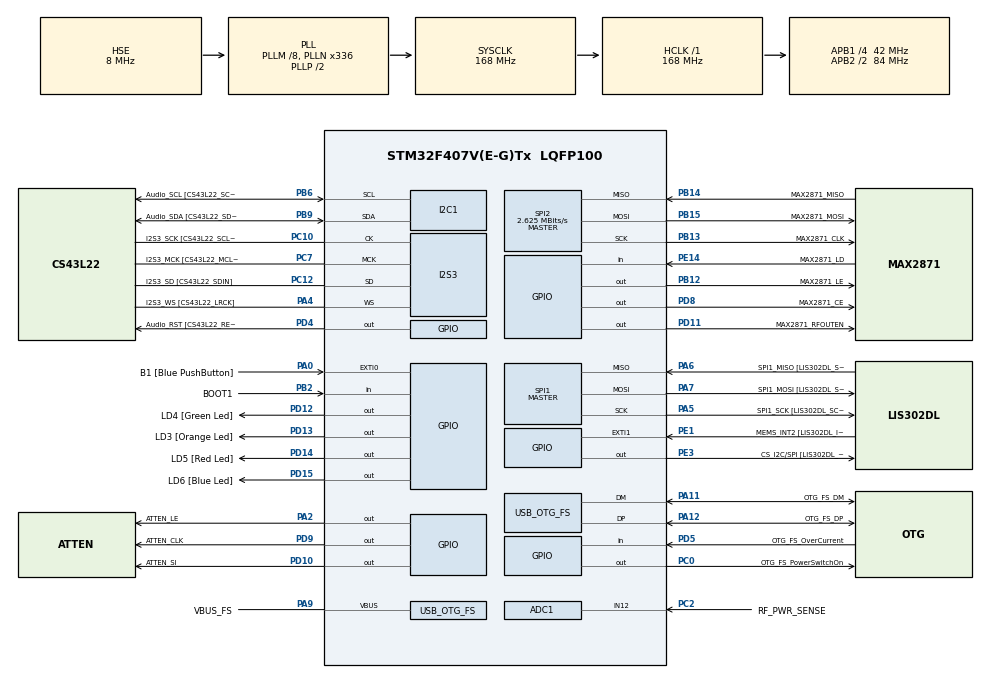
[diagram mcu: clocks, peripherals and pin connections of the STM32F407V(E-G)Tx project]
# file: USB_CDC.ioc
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ADC1.Channel-12\#ChannelRegularConversion=ADC_CHANNEL_12
ADC1.ContinuousConvMode=ENABLE
ADC1.DMAContinuousRequests=ENABLE
ADC1.EOCSelection=ADC_EOC_SEQ_CONV
ADC1.NbrOfConversionFlag=1
ADC1.Rank-12\#ChannelRegularConversion=1
ADC1.SamplingTime-12\#ChannelRegularConversion=ADC_SAMPLETIME_3CYCLES
ADC1.ScanConvMode=ENABLE
ADC1.master=1
I2S3.AudioFreq-Half_Duplex_Master=I2S_AUDIOFREQ_96K
I2S3.ErrorAudioFreq=-2.34 %
I2S3.ErrorAudioFreq-Half_Duplex_Master=0.8 %
I2S3.FullDuplexMode=I2S_FULLDUPLEXMODE_DISABLE
I2S3.Instance=SPI$Index
I2S3.RealAudioFreq=93.75 KHz
I2S3.RealAudioFreq-Half_Duplex_Master=96.774 KHz
I2S3.VirtualMode=I2S_MODE_MASTER
Mcu.Family=STM32F4
Mcu.Name=STM32F407V(E-G)Tx
Mcu.Package=LQFP100
NVIC.OTG_FS_IRQn=true\:0\:0\:false\:false\:true\:true
NVIC.PriorityGroup=NVIC_PRIORITYGROUP_0
PA0-WKUP.GPIO_Label=B1 [Blue PushButton]
PA0-WKUP.GPIO_ModeDefaultEXTI=GPIO_MODE_EVT_RISING
PA0-WKUP.GPIO_PuPd=GPIO_NOPULL
PA0-WKUP.Signal=GPXTI0
PA10.GPIO_Label=OTG_FS_ID
PA10.GPIO_Mode=GPIO_MODE_AF_PP
PA10.GPIO_PuPd=GPIO_NOPULL
PA10.GPIO_Speed=GPIO_SPEED_FREQ_LOW
PA10.Signal=USB_OTG_FS_ID
PA11.GPIO_Label=OTG_FS_DM
PA11.GPIO_Mode=GPIO_MODE_AF_PP
PA11.GPIO_PuPd=GPIO_NOPULL
PA11.GPIO_Speed=GPIO_SPEED_FREQ_LOW
PA11.Mode=Device_Only
PA11.Signal=USB_OTG_FS_DM
PA12.GPIO_Label=OTG_FS_DP
PA12.GPIO_Mode=GPIO_MODE_AF_PP
PA12.GPIO_PuPd=GPIO_NOPULL
PA12.GPIO_Speed=GPIO_SPEED_FREQ_LOW
PA12.Mode=Device_Only
PA12.Signal=USB_OTG_FS_DP
PA13.GPIO_Label=SWDIO
PA13.Mode=Serial_Wire
PA13.Signal=SYS_JTMS-SWDIO
PA14.GPIO_Label=SWCLK
PA14.Mode=Serial_Wire
PA14.Signal=SYS_JTCK-SWCLK
PA2.GPIO_Label=ATTEN_LE
PA2.Signal=GPIO_Output
PA4.GPIO_Label=I2S3_WS [CS43L22_LRCK]
PA4.GPIO_Mode=GPIO_MODE_AF_PP
PA4.GPIO_PuPd=GPIO_NOPULL
PA4.GPIO_Speed=GPIO_SPEED_FREQ_LOW
PA4.Mode=Half_Duplex_Master
PA4.Signal=I2S3_WS
PA5.GPIO_Label=SPI1_SCK [LIS302DL_SCL/SPC]
PA5.GPIO_Mode=GPIO_MODE_AF_PP
PA5.GPIO_PuPd=GPIO_NOPULL
PA5.GPIO_Speed=GPIO_SPEED_FREQ_LOW
PA5.Mode=Full_Duplex_Master
PA5.Signal=SPI1_SCK
PA6.GPIO_Label=SPI1_MISO [LIS302DL_SDO]
PA6.GPIO_Mode=GPIO_MODE_AF_PP
PA6.GPIO_PuPd=GPIO_NOPULL
PA6.GPIO_Speed=GPIO_SPEED_FREQ_LOW
PA6.Mode=Full_Duplex_Master
PA6.Signal=SPI1_MISO
PA7.GPIO_Label=SPI1_MOSI [LIS302DL_SDA/SDI/SDO]
PA7.GPIO_Mode=GPIO_MODE_AF_PP
PA7.GPIO_PuPd=GPIO_NOPULL
PA7.GPIO_Speed=GPIO_SPEED_FREQ_LOW
PA7.Mode=Full_Duplex_Master
PA7.Signal=SPI1_MOSI
PA9.GPIO_Label=VBUS_FS
PA9.GPIO_Mode=GPIO_MODE_INPUT
PA9.GPIO_PuPd=GPIO_NOPULL
PA9.Mode=Activate_VBUS
PA9.Signal=USB_OTG_FS_VBUS
PB10.GPIO_Label=CLK_IN [MP45DT02_CLK]
PB10.GPIO_Mode=GPIO_MODE_AF_PP
PB10.GPIO_PuPd=GPIO_NOPULL
PB10.GPIO_Speed=GPIO_SPEED_FREQ_LOW
PB10.Signal=I2S2_CK
PB12.GPIO_Label=MAX2871_LE
PB12.Signal=GPIO_Output
PB13.GPIO_Label=MAX2871_CLK
PB13.Mode=Full_Duplex_Master
PB13.Signal=SPI2_SCK
PB14.GPIO_Label=MAX2871_MISO
PB14.Mode=Full_Duplex_Master
PB14.Signal=SPI2_MISO
PB15.GPIO_Label=MAX2871_MOSI
PB15.Mode=Full_Duplex_Master
PB15.Signal=SPI2_MOSI
PB2.GPIO_Label=BOOT1
PB2.GPIO_Mode=GPIO_MODE_INPUT
PB2.GPIO_PuPd=GPIO_NOPULL
PB2.Signal=GPIO_Input
PB3.GPIO_Label=SWO
PB3.Signal=SYS_JTDO-SWO
PB6.GPIO_Label=Audio_SCL [CS43L22_SCL]
PB6.GPIO_Mode=GPIO_MODE_AF_OD
PB6.GPIO_PuPd=GPIO_NOPULL
PB6.GPIO_Speed=GPIO_SPEED_FREQ_LOW
PB6.Mode=I2C
PB6.Signal=I2C1_SCL
PB9.GPIO_Label=Audio_SDA [CS43L22_SDA]
PB9.GPIO_Mode=GPIO_MODE_AF_OD
PB9.GPIO_PuPd=GPIO_NOPULL
PB9.GPIO_Speed=GPIO_SPEED_FREQ_LOW
PB9.Mode=I2C
PB9.Signal=I2C1_SDA
PC0.GPIO_Label=OTG_FS_PowerSwitchOn
PC0.GPIO_PuPd=GPIO_NOPULL
PC0.GPIO_Speed=GPIO_SPEED_FREQ_LOW
PC0.PinState=GPIO_PIN_SET
PC0.Signal=GPIO_Output
PC10.GPIO_Label=I2S3_SCK [CS43L22_SCLK]
PC10.GPIO_Mode=GPIO_MODE_AF_PP
PC10.GPIO_PuPd=GPIO_NOPULL
PC10.GPIO_Speed=GPIO_SPEED_FREQ_LOW
PC10.Mode=Half_Duplex_Master
PC10.Signal=I2S3_CK
PC12.GPIO_Label=I2S3_SD [CS43L22_SDIN]
PC12.GPIO_Mode=GPIO_MODE_AF_PP
PC12.GPIO_PuPd=GPIO_NOPULL
PC12.GPIO_Speed=GPIO_SPEED_FREQ_LOW
PC12.Mode=Half_Duplex_Master
PC12.Signal=I2S3_SD
PC14-OSC32_IN.GPIO_Label=PC14-OSC32_IN
PC14-OSC32_IN.Mode=LSE-External-Oscillator
PC14-OSC32_IN.Signal=RCC_OSC32_IN
PC15-OSC32_OUT.GPIO_Label=PC15-OSC32_OUT
PC15-OSC32_OUT.Mode=LSE-External-Oscillator
PC15-OSC32_OUT.Signal=RCC_OSC32_OUT
PC2.GPIO_Label=RF_PWR_SENSE
PC2.Signal=ADCx_IN12
PC3.GPIO_Label=PDM_OUT [MP45DT02_DOUT]
PC3.GPIO_Mode=GPIO_MODE_AF_PP
PC3.GPIO_PuPd=GPIO_NOPULL
PC3.GPIO_Speed=GPIO_SPEED_FREQ_LOW
PC3.Signal=I2S2_SD
PC7.GPIO_Label=I2S3_MCK [CS43L22_MCLK]
PC7.GPIO_Mode=GPIO_MODE_AF_PP
PC7.GPIO_PuPd=GPIO_NOPULL
PC7.GPIO_Speed=GPIO_SPEED_FREQ_LOW
PC7.Mode=Master_Clock_Activated
PC7.Signal=I2S3_MCK
PD10.GPIO_Label=ATTEN_SI
PD10.Signal=GPIO_Output
PD11.GPIO_Label=MAX2871_RFOUTEN
PD11.Signal=GPIO_Output
PD12.GPIO_Label=LD4 [Green Led]
PD12.GPIO_PuPd=GPIO_NOPULL
PD12.GPIO_Speed=GPIO_SPEED_FREQ_LOW
PD12.Signal=GPIO_Output
PD13.GPIO_Label=LD3 [Orange Led]
PD13.GPIO_PuPd=GPIO_NOPULL
PD13.GPIO_Speed=GPIO_SPEED_FREQ_LOW
PD13.Signal=GPIO_Output
PD14.GPIO_Label=LD5 [Red Led]
PD14.GPIO_PuPd=GPIO_NOPULL
PD14.GPIO_Speed=GPIO_SPEED_FREQ_LOW
PD14.Signal=GPIO_Output
PD15.GPIO_Label=LD6 [Blue Led]
PD15.GPIO_PuPd=GPIO_NOPULL
PD15.GPIO_Speed=GPIO_SPEED_FREQ_LOW
PD15.Signal=GPIO_Output
PD4.GPIO_Label=Audio_RST [CS43L22_RESET]
PD4.GPIO_PuPd=GPIO_NOPULL
PD4.GPIO_Speed=GPIO_SPEED_FREQ_LOW
PD4.Signal=GPIO_Output
PD5.GPIO_Label=OTG_FS_OverCurrent
PD5.GPIO_Mode=GPIO_MODE_INPUT
PD5.GPIO_PuPd=GPIO_NOPULL
PD5.Signal=GPIO_Input
PD8.GPIO_Label=MAX2871_CE
PD8.Signal=GPIO_Output
PD9.GPIO_Label=ATTEN_CLK
PD9.Signal=GPIO_Output
PE1.GPIO_Label=MEMS_INT2 [LIS302DL_INT2]
PE1.GPIO_ModeDefaultEXTI=GPIO_MODE_EVT_RISING
PE1.GPIO_PuPd=GPIO_NOPULL
PE1.Signal=GPXTI1
PE14.GPIO_Label=MAX2871_LD
PE14.Signal=GPIO_Input
PE3.GPIO_Label=CS_I2C/SPI [LIS302DL_CS_I2C/SPI]
PE3.GPIO_PuPd=GPIO_NOPULL
PE3.GPIO_Speed=GPIO_SPEED_FREQ_LOW
PE3.Signal=GPIO_Output
PH0-OSC_IN.GPIO_Label=PH0-OSC_IN
PH0-OSC_IN.Mode=HSE-External-Oscillator
PH0-OSC_IN.Signal=RCC_OSC_IN
PH1-OSC_OUT.GPIO_Label=PH1-OSC_OUT
PH1-OSC_OUT.Mode=HSE-External-Oscillator
PH1-OSC_OUT.Signal=RCC_OSC_OUT
ProjectManager.HeapSize=0x200
ProjectManager.StackSize=0x400
ProjectManager.TargetToolchain=SW4STM32
RCC.48MHZClocksFreq_Value=48000000
RCC.AHBFreq_Value=168000000
RCC.APB1CLKDivider=RCC_HCLK_DIV4
RCC.APB1Freq_Value=42000000
RCC.APB1TimFreq_Value=84000000
RCC.APB2CLKDivider=RCC_HCLK_DIV2
RCC.APB2Freq_Value=84000000
RCC.APB2TimFreq_Value=168000000
RCC.CortexFreq_Value=168000000
RCC.HCLKFreq_Value=168000000
RCC.HSE_VALUE=8000000
RCC.HSI_VALUE=16000000
RCC.PLLM=8
RCC.PLLN=336
RCC.PLLQ=7
RCC.SYSCLKFreq_VALUE=168000000
RCC.SYSCLKSource=RCC_SYSCLKSOURCE_PLLCLK
RCC.VCOOutputFreq_Value=336000000
SH.ADCx_IN12.0=ADC1_IN12,IN12
SPI1.BaudRatePrescaler-Full_Duplex_Master=SPI_BAUDRATEPRESCALER_2
SPI1.CalculateBaudRate-Full_Duplex_Master=42.0 MBits/s
SPI1.Direction=SPI_DIRECTION_2LINES
SPI1.Mode=SPI_MODE_MASTER
SPI1.Mode-Full_Duplex_Master=SPI_MODE_MASTER
SPI1.VirtualType=VM_MASTER
SPI2.BaudRatePrescaler=SPI_BAUDRATEPRESCALER_16
SPI2.CalculateBaudRate=2.625 MBits/s
SPI2.DataSize=SPI_DATASIZE_8BIT
SPI2.Direction=SPI_DIRECTION_2LINES
SPI2.Mode=SPI_MODE_MASTER
SPI2.VirtualType=VM_MASTER
USB_DEVICE.CLASS_NAME_FS=CDC
USB_DEVICE.MANUFACTURER_STRING-CDC_FS=Josh Johnson
USB_DEVICE.PRODUCT_STRING_CDC_FS=Josh's VNA
USB_DEVICE.VirtualMode-CDC_FS=Cdc
USB_DEVICE.VirtualModeFS=Cdc_FS
USB_OTG_FS.VirtualMode=Device_Only
VP_USB_DEVICE_VS_USB_DEVICE_CDC_FS.Mode=CDC_FS
board=STM32F4DISCOVERY

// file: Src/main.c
/* USER CODE BEGIN Header */
/**
  ******************************************************************************
  * @file           : main.c
  * @brief          : Main program body
  ******************************************************************************
  * This notice applies to any and all portions of this file
  * that are not between comment pairs USER CODE BEGIN and
  * USER CODE END. Other portions of this file, whether
  * inserted by the user or by software development tools
  * are owned by their respective copyright owners.
  *
  * Copyright (c) 2019 STMicroelectronics International N.V.
  * All rights reserved.
  *
  * Redistribution and use in source and binary forms, with or without
  * modification, are permitted, provided that the following conditions are met:
  *
  * 1. Redistribution of source code must retain the above copyright notice,
  *    this list of conditions and the following disclaimer.
  * 2. Redistributions in binary form must reproduce the above copyright notice,
  *    this list of conditions and the following disclaimer in the documentation
  *    and/or other materials provided with the distribution.
  * 3. Neither the name of STMicroelectronics nor the names of other
  *    contributors to this software may be used to endorse or promote products
  *    derived from this software without specific written permission.
  * 4. This software, including modifications and/or derivative works of this
  *    software, must execute solely and exclusively on microcontroller or
  *    microprocessor devices manufactured by or for STMicroelectronics.
  * 5. Redistribution and use of this software other than as permitted under
  *    this license is void and will automatically terminate your rights under
  *    this license.
  *
  * THIS SOFTWARE IS PROVIDED BY STMICROELECTRONICS AND CONTRIBUTORS "AS IS"
  * AND ANY EXPRESS, IMPLIED OR STATUTORY WARRANTIES, INCLUDING, BUT NOT
  * LIMITED TO, THE IMPLIED WARRANTIES OF MERCHANTABILITY, FITNESS FOR A
  * PARTICULAR PURPOSE AND NON-INFRINGEMENT OF THIRD PARTY INTELLECTUAL PROPERTY
  * RIGHTS ARE DISCLAIMED TO THE FULLEST EXTENT PERMITTED BY LAW. IN NO EVENT
  * SHALL STMICROELECTRONICS OR CONTRIBUTORS BE LIABLE FOR ANY DIRECT, INDIRECT,
  * INCIDENTAL, SPECIAL, EXEMPLARY, OR CONSEQUENTIAL DAMAGES (INCLUDING, BUT NOT
  * LIMITED TO, PROCUREMENT OF SUBSTITUTE GOODS OR SERVICES; LOSS OF USE, DATA,
  * OR PROFITS; OR BUSINESS INTERRUPTION) HOWEVER CAUSED AND ON ANY THEORY OF
  * LIABILITY, WHETHER IN CONTRACT, STRICT LIABILITY, OR TORT (INCLUDING
  * NEGLIGENCE OR OTHERWISE) ARISING IN ANY WAY OUT OF THE USE OF THIS SOFTWARE,
  * EVEN IF ADVISED OF THE POSSIBILITY OF SUCH DAMAGE.
  *
  ******************************************************************************
  */
/* USER CODE END Header */

#include "main.h"
#include "adc.h"
#include "i2c.h"
#include "i2s.h"
#include "spi.h"
#include "usb_device.h"
#include "gpio.h"

/* USER CODE BEGIN Includes */
#include "usbd_cdc_if.h"
#include "dwt_stm32_delay.h"
#include <stdio.h>
#include <string.h>
#include "max2871_registers.h"
#include "max2871.h"
#include "gainBlock.h"
#include "ad8319.h"
#include "pe43711.h"

/* USER CODE END Includes */

/* USER CODE BEGIN PTD */
FIFO RX_FIFO = {.head = 0, .tail = 0};

extern struct MAX2871Struct max2871Status;
extern struct gainStruct gainStatus;
/* USER CODE END PTD */

void SystemClock_Config(void);

int main(void)
{

  /* MCU Configuration--------------------------------------------------------*/

  /* Reset of all peripherals, Initializes the Flash interface and the Systick. */
  HAL_Init();

  /* Configure the system clock */
  SystemClock_Config();

  /* USER CODE BEGIN SysInit */
  DWT_Delay_Init();
  /* USER CODE END SysInit */

  /* Initialize all configured peripherals */
  MX_GPIO_Init();
  MX_I2C1_Init();
  MX_I2S3_Init();
  MX_SPI1_Init();
  MX_USB_DEVICE_Init();
  MX_ADC1_Init();
  MX_SPI2_Init();
  /* USER CODE BEGIN 2 */
  HAL_ADC_Start(&hadc1);
  max2871Setup(&max2871Status);
  max2871RFEnable(&max2871Status);
  gainBlockSetup(&gainStatus);

  /* USER CODE END 2 */

  /* Infinite loop */
  while (1)
  {

    /* USER CODE BEGIN 3 */

	if (HAL_GPIO_ReadPin(B1_GPIO_Port, B1_Pin))
	{
		max2871SetFrequency(30,0,&max2871Status);
		max2871PrintStatus(&max2871Status);
		HAL_GPIO_TogglePin(LD3_GPIO_Port, LD3_Pin);
		HAL_Delay(200);
	}

  }
  /* USER CODE END 3 */
}

void SystemClock_Config(void)
{
  RCC_OscInitTypeDef RCC_OscInitStruct = {0};
  RCC_ClkInitTypeDef RCC_ClkInitStruct = {0};
  RCC_PeriphCLKInitTypeDef PeriphClkInitStruct = {0};

  /**Configure the main internal regulator output voltage
  */
  __HAL_RCC_PWR_CLK_ENABLE();
  __HAL_PWR_VOLTAGESCALING_CONFIG(PWR_REGULATOR_VOLTAGE_SCALE1);
  /**Initializes the CPU, AHB and APB busses clocks
  */
  RCC_OscInitStruct.OscillatorType = RCC_OSCILLATORTYPE_HSE;
  RCC_OscInitStruct.HSEState = RCC_HSE_ON;
  RCC_OscInitStruct.PLL.PLLState = RCC_PLL_ON;
  RCC_OscInitStruct.PLL.PLLSource = RCC_PLLSOURCE_HSE;
  RCC_OscInitStruct.PLL.PLLM = 8;
  RCC_OscInitStruct.PLL.PLLN = 336;
  RCC_OscInitStruct.PLL.PLLP = RCC_PLLP_DIV2;
  RCC_OscInitStruct.PLL.PLLQ = 7;
  if (HAL_RCC_OscConfig(&RCC_OscInitStruct) != HAL_OK)
  {
    Error_Handler();
  }
  /**Initializes the CPU, AHB and APB busses clocks
  */
  RCC_ClkInitStruct.ClockType = RCC_CLOCKTYPE_HCLK|RCC_CLOCKTYPE_SYSCLK
                              |RCC_CLOCKTYPE_PCLK1|RCC_CLOCKTYPE_PCLK2;
  RCC_ClkInitStruct.SYSCLKSource = RCC_SYSCLKSOURCE_PLLCLK;
  RCC_ClkInitStruct.AHBCLKDivider = RCC_SYSCLK_DIV1;
  RCC_ClkInitStruct.APB1CLKDivider = RCC_HCLK_DIV4;
  RCC_ClkInitStruct.APB2CLKDivider = RCC_HCLK_DIV2;

  if (HAL_RCC_ClockConfig(&RCC_ClkInitStruct, FLASH_LATENCY_5) != HAL_OK)
  {
    Error_Handler();
  }
  PeriphClkInitStruct.PeriphClockSelection = RCC_PERIPHCLK_I2S;
  PeriphClkInitStruct.PLLI2S.PLLI2SN = 192;
  PeriphClkInitStruct.PLLI2S.PLLI2SR = 2;
  if (HAL_RCCEx_PeriphCLKConfig(&PeriphClkInitStruct) != HAL_OK)
  {
    Error_Handler();
  }
}

void Error_Handler(void)
{
}

/************************ (C) COPYRIGHT STMicroelectronics *****END OF FILE****/
